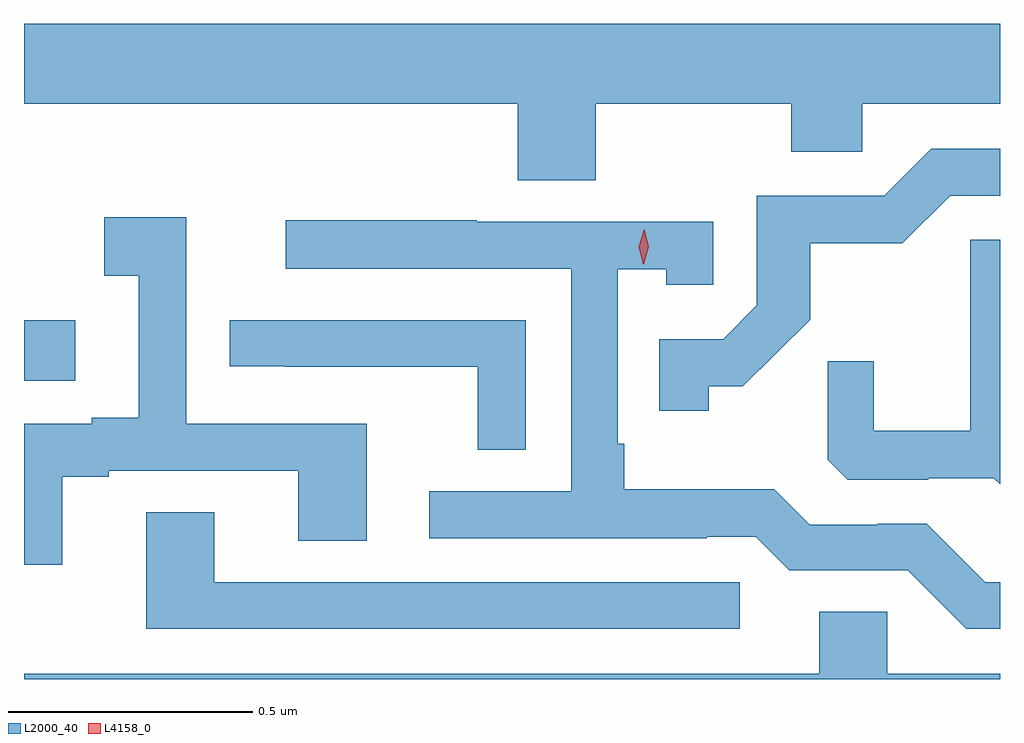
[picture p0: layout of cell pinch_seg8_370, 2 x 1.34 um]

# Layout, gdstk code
import gdstk
lib = gdstk.Library(unit=1e-6, precision=1e-09)
def R(c, l, rs):  # rectangles x0, y0, x1, y1
    for r in rs: c.add(gdstk.rectangle(r[:2], r[2:], *l))
def P(c, l, *ps):  # polygons
    for p in ps: c.add(gdstk.Polygon(p, *l))
L2000_40 = (2000, 40)
L4158_0 = (4158, 0)

pinch_seg8_370 = lib.new_cell('pinch_seg8_370')
R(pinch_seg8_370, L2000_40, [(471.481,1109.273,471.586,1109.397)])
P(pinch_seg8_370, L2000_40, [(472.653,1109.84),(473.053,1109.84),(473.053,1109.742),(473.199,1109.742),(473.199,1109.84),(473.481,1109.84),(473.481,1110.004),(471.481,1110.004),(471.481,1109.84),(472.493,1109.84),(472.493,1109.683),(472.653,1109.683)],
  [(472.884,1109.261),(472.954,1109.261),(473.092,1109.398),(473.092,1109.554),(473.281,1109.554),(473.379,1109.652),(473.481,1109.652),(473.481,1109.748),(473.34,1109.748),(473.244,1109.652),(472.983,1109.652),(472.983,1109.427),(472.914,1109.358),(472.783,1109.358),(472.783,1109.211),(472.884,1109.211)],
  [(471.559,1109.076),(471.655,1109.076),(471.655,1109.088),(472.043,1109.088),(472.043,1108.945),(472.183,1108.945),(472.183,1109.184),(471.813,1109.184),(471.813,1109.608),(471.645,1109.608),(471.645,1109.488),(471.716,1109.488),(471.716,1109.197),(471.62,1109.197),(471.62,1109.184),(471.481,1109.184),(471.481,1108.896),(471.559,1108.896)],
  [(473.481,1108.86),(473.451,1108.86),(473.331,1108.98),(473.23,1108.98),(473.23,1108.977),(473.091,1108.977),(473.018,1109.05),(472.711,1109.05),(472.711,1109.143),(472.698,1109.143),(472.698,1109.501),(472.797,1109.501),(472.797,1109.469),(472.893,1109.469),(472.893,1109.598),(472.409,1109.598),(472.409,1109.601),(472.017,1109.601),(472.017,1109.502),(472.602,1109.502),(472.602,1109.046),(472.311,1109.046),(472.311,1108.95),(472.88,1108.95),(472.88,1108.953),(472.98,1108.953),(473.049,1108.884),(473.292,1108.884),(473.412,1108.764),(473.481,1108.764)],
  [(473.481,1109.562),(473.42,1109.562),(473.42,1109.17),(473.222,1109.17),(473.222,1109.313),(473.128,1109.313),(473.128,1109.111),(473.169,1109.07),(473.334,1109.07),(473.334,1109.073),(473.468,1109.073),(473.481,1109.06)],
  [(472.509,1109.397),(471.903,1109.397),(471.903,1109.302),(472.015,1109.302),(472.015,1109.301),(472.411,1109.301),(472.411,1109.131),(472.509,1109.131)],
  [(472.948,1108.86),(471.871,1108.86),(471.871,1109.003),(471.731,1109.003),(471.731,1108.764),(472.948,1108.764)],
  [(473.481,1108.672),(473.25,1108.672),(473.25,1108.799),(473.111,1108.799),(473.111,1108.672),(471.481,1108.672),(471.481,1108.661),(473.481,1108.661)])
P(pinch_seg8_370, L4158_0, [(472.75,1109.511),(472.741,1109.547),(472.752,1109.583),(472.752,1109.583),(472.752,1109.583),(472.761,1109.547),(472.751,1109.511),(472.751,1109.511)])

lib.write_gds('pinch_seg8_370.gds')
